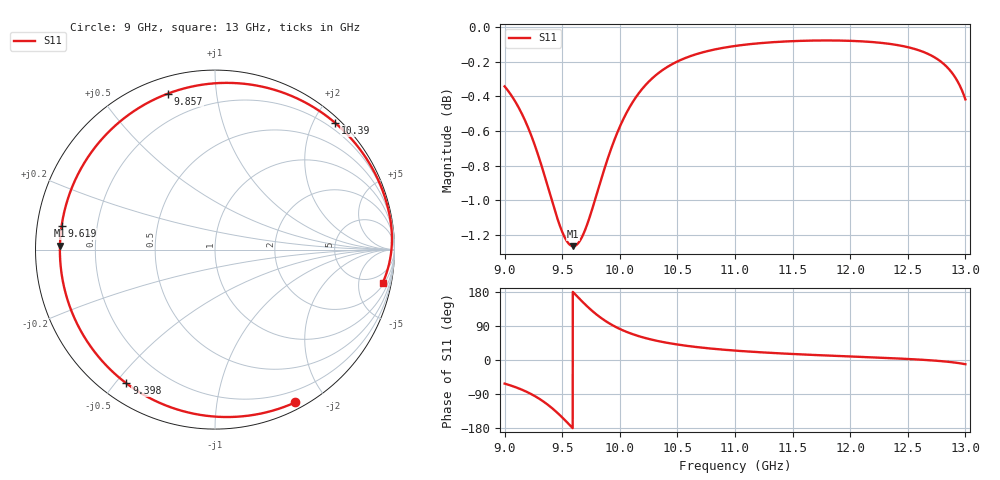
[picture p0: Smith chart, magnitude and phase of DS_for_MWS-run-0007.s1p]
! TOUCHSTONE file generated by CST DESIGN STUDIO
! Date and time: Tue Feb  4 17:05:24 2025
! Project name: C:\Work\MatlabApps\UnitCellOptimizationMatlab\CST\unitcell.cst
! Tree item: Tasks\Sweep1\SPara1\S-Parameters
! Header version: 2024
! Port assignment regex: !\s*Touchstone port\s*([0-9]+)\s*=\s*(CST MWS port|CST DES external port|CST DES block port)\s*(.+)\s* \(\"(.*)\"\)(\s*mode\s*([0-9]+))?.*
! Touchstone port assignment:
! Touchstone port 1 = CST DES external port 1 ("")
# GHz S MA R 50
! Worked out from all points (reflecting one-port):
!   4001 points, 9 GHz to 13 GHz, reference 50 ohm
!   lowest |S11| = -1.3 dB at 9.596 GHz (marker M1), VSWR 13.74, Z = 3.64 + j0.611 ohm
!   phase of S11 starts at -62 deg and turns -309 deg over the sweep
!   S11 on the Smith chart (normalised r, x): 9 GHz: 0.07, -1.65; 9.398 GHz: 0.07, -0.53; 9.619 GHz: 0.07, +0.08; 9.857 GHz: 0.07, +0.74; 10.39 GHz: 0.09, +2.32; 13 GHz: 2.39, -9.64
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9  0.9615 -62.3
9.12  0.9482 -74.6
9.242  0.9284 -91.8
9.325  0.9109 -107.1
9.398  0.8938 -123.6
9.448  0.8825 -136.6
9.5  0.8726 -151.5
9.549  0.8663 -166.5
9.596  0.8643 178.6
9.619  0.8648 171.3
9.676  0.8701 153.5
9.742  0.8819 134.5
9.798  0.8944 120.1
9.857  0.9079 106.8
9.923  0.9219 94.1
10  0.9359 81.9
10.085  0.9482 71.1
10.176  0.9581 61.9
10.276  0.9663 53.8
10.389  0.9729 46.6
10.5  0.9776 40.9
10.72  0.9835 32.4
11  0.9877 24.8
11.5  0.9909 15.9
12  0.9911 9.3
12.5  0.9869 2.7
12.796  0.977 -3.1
13  0.9531 -11.2
